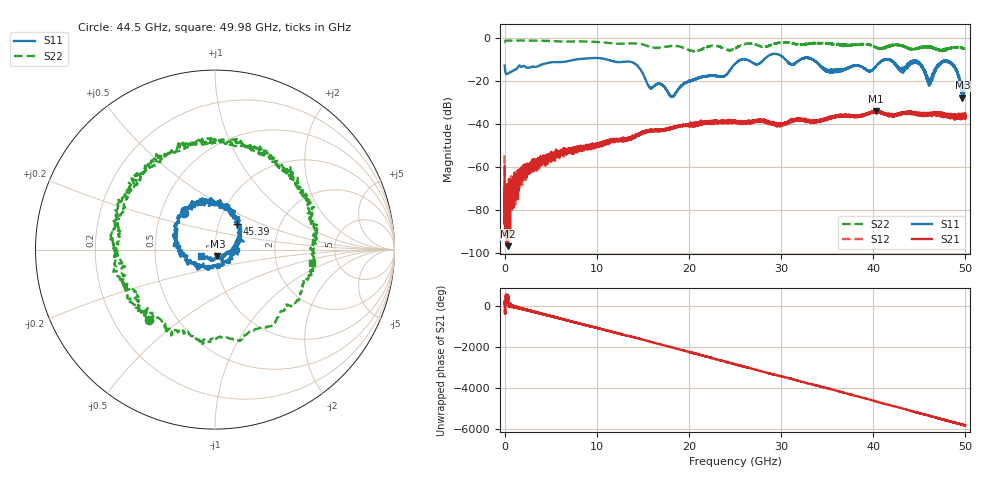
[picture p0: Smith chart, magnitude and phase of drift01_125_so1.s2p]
!Created with skrf (http://scikit-rf.org).
# Hz S RI R 50.0
!freq ReS11 ImS11 ReS21 ImS21 ReS12 ImS12 ReS22 ImS22
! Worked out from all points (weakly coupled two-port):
!   10001 points, 300 kHz to 50 GHz, reference 50 ohm
!   highest |S21| = -34.05 dB at 40.27 GHz (marker M1); lowest = -96.9 dB at 370.3 MHz (marker M2)
!   lowest |S11| = -27.9 dB at 49.67 GHz (marker M3), VSWR 1.08, Z = 51.2 - j3.89 ohm
!   |S11| at or under -10 dB: start of sweep to 8.07 GHz; 10.92 GHz to 26.01 GHz (15.09 GHz wide, 81.7 % of centre); 41.57 GHz to end of sweep (the widest 3 of 13)
!   |S22| runs from -6.4 to -1.4 dB; largest |S21 - S12| = 0.0038
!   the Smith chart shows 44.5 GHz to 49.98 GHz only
!   S11 on the Smith chart (normalised r, x): 44.5 GHz: 0.65, +0.29; 45.39 GHz: 1.22, +0.36; 49.98 GHz: 0.85, -0.06
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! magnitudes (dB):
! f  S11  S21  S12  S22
! 300 kHz  -13.0  -59.6  -54.7  -2.1
! 255.3 MHz  -16.9  -76.7  -71.8  -1.4
! 370.3 MHz  -16.7  -96.9  -77.7  -1.4
! 2.73 GHz  -13.9  -61.4  -59.9  -1.4
! 8.335 GHz  -9.9  -51.0  -51.1  -1.8
! 13.8 GHz  -11.4  -46.6  -46.7  -2.7
! 15.75 GHz  -23.3  -43.3  -43.4  -4.2
! 16.67 GHz  -21.4  -43.1  -43.0  -4.8
! 18.21 GHz  -27.2  -42.1  -41.6  -3.9
! 25 GHz  -12.2  -39.0  -39.2  -5.0
! 33.34 GHz  -10.0  -38.9  -38.9  -2.7
! 35.23 GHz  -15.4  -37.0  -37.6  -2.9
! 40.27 GHz  -13.5  -34.1  -34.3  -4.6
! 41.67 GHz  -10.2  -36.3  -36.1  -4.3
! 43.07 GHz  -15.8  -35.6  -35.1  -3.6
! 44.5 GHz  -11.4  -35.1  -35.6  -5.3
! 45.39 GHz  -14.5  -35.5  -35.5  -4.4
! 46.14 GHz  -20.8  -35.7  -35.8  -4.3
! 48.21 GHz  -11.5  -37.1  -37.1  -5.0
! 49.67 GHz  -27.9  -37.3  -36.4  -4.8
! 49.98 GHz  -21.4  -36.1  -36.0  -5.3
! 50 GHz  -21.0  -35.9  -36.3  -5.3
